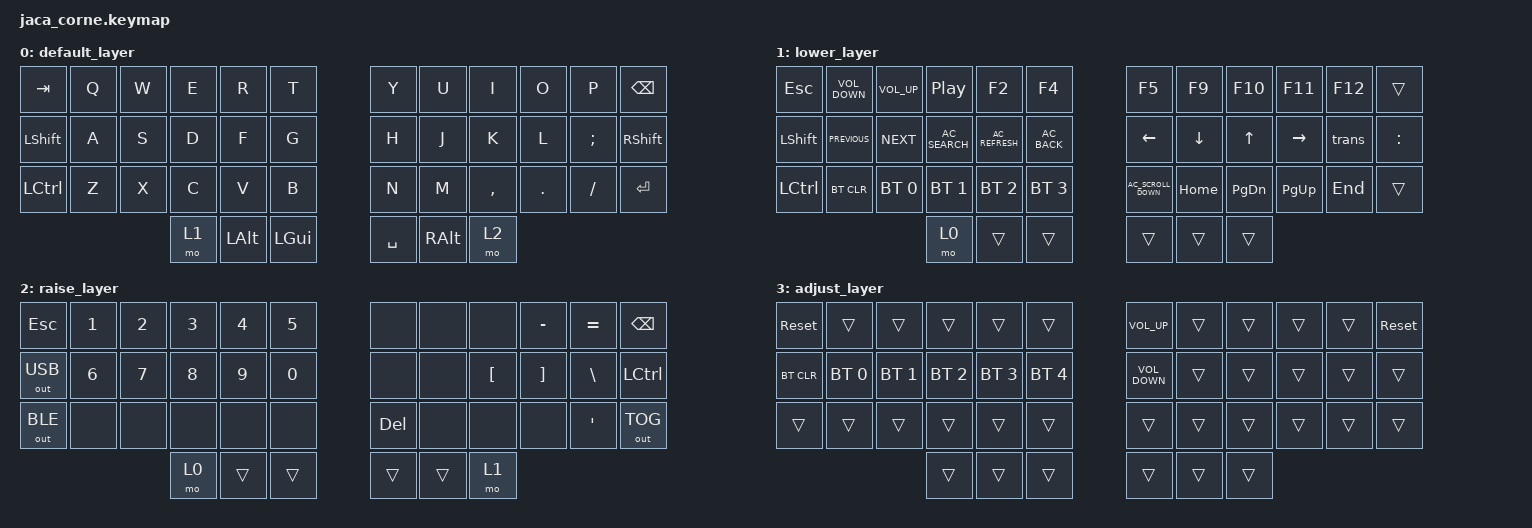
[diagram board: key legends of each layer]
#include <behaviors.dtsi>
#include <dt-bindings/zmk/bt.h>
#include <dt-bindings/zmk/keys.h>
#include <dt-bindings/zmk/outputs.h>

#define QWERTY 0
#define NUMB 1
#define NAVI 2
#define ADJUST 3

&lt {
    tapping-term-ms = <300>;
    quick_tap_ms = <200>;
    flavor = "hold-preferred";
};

/ {
    chosen {
        zmk,matrix_transform = &default_transform;
    };

    behaviors {
        hm: homerow_mods {
            compatible = "zmk,behavior-hold-tap";
            label = "HOMEROW_MODS";
            #binding-cells = <2>;
            tapping-term-ms = <150>;
            quick_tap_ms = <150>;
            flavor = "tap-preferred";
            bindings = <&kp>, <&kp>;
        };
        lm: left_hand_positional_hold_tap {
            compatible = "zmk,behavior-hold-tap";
            label = "LEFT_HOMEROW_MODS";
            #binding-cells = <2>;
            flavor = "tap-unless-interrupted";
            tapping-term-ms = <200>;
            quick-tap-ms = <200>;
            bindings = <&kp>, <&kp>;

            hold-trigger-key-positions = <5 6 7 8 9 15 16 17 18 19 25 26 27 28 29>;
        };
        rm: right_hand_positional_hold_tap {
            compatible = "zmk,behavior-hold-tap";
            label = "RIGHT_HOMEROW_MODS";
            #binding-cells = <2>;
            flavor = "tap-unless-interrupted";
            tapping-term-ms = <200>;
            quick-tap-ms = <200>;
            bindings = <&kp>, <&kp>;

            hold-trigger-key-positions = <0 1 2 3 4 10 11 12 13 14 20 21 22 23 24>;
        };
    };

    keymap {
        compatible = "zmk,keymap";

        default_layer {
// .--------------------------------------------------------------------.       .------------------------------------------------------------------.
// |   TAB        |    Q    |    W   |   E    |    R    |    T          |       |   Y   |    U    |    I    |    O    |     P    |    BACKSPACE    |
// |--------------+---------+--------+--------+---------+---------------|       |-------+---------+---------+---------+----------+-----------------|
// |   LSHFT      |    A    |    S   |   D    |    F    |    G          |       |   H   |    J    |    K    |    L    |     ;    |    RSHFT        |
// |--------------+---------+--------+--------+---------+---------------|       |-------+---------+---------+---------+----------+-----------------|
// |   LCTRL      |    Z    |    X   |   C    |    V    |    B          |       |   N   |    M    |    ,    |    .    |     /    |    ENTER        |
// '---------------------------------+--------+---------+---------------+       |-------+---------+---------+--------------------------------------'
//                                   |  MO1   |   LALT   |   LEFT_GUI   |       |  SPC  |   RALT  |  MO2    |
//                                   '--------+---------+---------------'       '-------+---------+---------'

// &kp TAB        &kp Q       &kp W      &kp E     &kp R           &kp T   &kp Y  &kp U           &kp I        &kp O     &kp P      &kp LBKT
// &mt LCTRL TAB  &kp A       &kp S      &kp D     &kp F           &kp G   &kp H  &kp J           &kp K        &kp L     &kp SEMI   &kp SQT
 //&kp LSHFT      &kp Z       &kp X      &kp C     &kp V           &kp B   &kp N  &kp M           &kp COMMA    &kp DOT   &kp FSLH   &mt RALT GRAVE
 //               &kp LGUI    &mo 1      &lt NAVI RET              &kp SPACE       &kp BSPC    &kp CAPSLOCK
 
            bindings = <
   &kp TAB        &kp Q       &kp W      &kp E     &kp R           &kp T   &kp Y  &kp U           &kp I        &kp O     &kp P      &kp BACKSPACE
   &kp LSHFT      &kp A       &kp S      &kp D     &kp F           &kp G   &kp H  &kp J           &kp K        &kp L     &kp SEMI   &kp RSHFT
   &kp LCTRL      &kp Z       &kp X      &kp C     &kp V           &kp B   &kp N  &kp M           &kp COMMA    &kp DOT   &kp FSLH   &kp ENTER
                              &mo 1      &kp LALT  &kp LEFT_GUI    &kp SPACE      &kp RIGHT_ALT        &mo 2
            >;
        };

        lower_layer {
// .--------------------------------------------------------------------------------------.       .-------------------------------------------------------------------------------------------------------------.
// |   ESC        |    VOLDOWN   |    VOLUP   |  PLAYPAUSE  |    F2       |    F4         |       |   F5         |    F9            |    F10           |    F11         |     F12            |    BACKSPACE     |
// |--------------+---------+--------+--------+-------------+-------------+---------------|       |--------------+------------------+------------------+----------------+--------------------+------------------|
// |   TAB        |    PREV      |    NEXT    |  SEARCH     |    RFRSH    |    BACK       |       |   SCROLLUP   |    LEFT_ARROW    |    DOWN_ARROW    |    UP_ARROW    |     RIGHT_ARROW    |     COLON        |
// |--------------+---------+--------+--------+-------------+-------------+---------------|       |--------------+------------------+---------+--------+----------------+--------------------|------------------|
// |   LCTRL      |    BTCLR     |    BT 1    |  BT 2       |    BT 3     |    BT 4       |       |   SCROLLDOWN |    HOME          |    PAGE_DOWN     |    PAGE_UP     |     END            |     ENTER        |
// '---------------------------------+--------+-------------+-------------+---------------|       |--------------+------------------+------------------+--------------------------------------------------------'
//                                            |    MO0      |  LALT       |   LEFT_GUI    |       |   SPC        |    RALT          |    MO2           |
//                                            '-------------+-------------+---------------'       '--------------+------------------+------------------'

            bindings = <
&kp ESCAPE        &kp C_VOLUME_DOWN  &kp C_VOLUME_UP  &kp C_PP          &kp F2            &kp F4                   &kp F5                &kp F9          &kp F10         &kp F11          &kp F12          &trans
&kp LSHFT         &kp C_PREVIOUS     &kp C_NEXT       &kp C_AC_SEARCH   &kp C_AC_REFRESH  &kp C_AC_BACK            &kp LEFT_ARROW        &kp DOWN_ARROW  &kp UP_ARROW    &kp RIGHT_ARROW  &kp trans     &kp COLON
&kp LEFT_CONTROL  &bt BT_CLR         &bt BT_SEL 0     &bt BT_SEL 1      &bt BT_SEL 2      &bt BT_SEL 3             &kp C_AC_SCROLL_DOWN  &kp HOME        &kp PAGE_DOWN   &kp PAGE_UP      &kp END          &trans
                                                      &mo 0             &trans            &trans                   &trans                &trans          &trans
            >;
        };

        raise_layer {
// .-------------------------------------------------------------------.       .---------------------------------------------------------------------.
// |    ESC        |    1    |    2    |    3    |    4    |    5      |       |          |           |          |   -     |   =     |   BACKSPACE   |
// |----------------+--------+---------+---------+---------+-----------|       |----------+-----------+----------+---------+---------+---------------|
// |    OUT_USB    |   6     |    7    |    8    |    9    |    0      |       |          |           |   [      |   ]     |   \     |   LCTRL       |
// |---------------+---------+---------+---------+---------+-----------|       |----------+-----------+----------+---------+---------+---------------|
// |    OUT_BLE    |         |         |         |         |           |       |   DEL    |           |          |         |   SQT   |   OUT_TOG     |
// '-----------------------------------+---------+---------+-----------|       |----------+-----------+----------+-----------------------------------'
//                                     |   MO1   |   LALT  |   L_GUI   |       |   SPC    |   R_ALT   |   MO1    |
//                                     '---------+----------+----------'       '----------+-----------+----------'

            bindings = <
&kp ESCAPE    &kp NUMBER_1  &kp NUMBER_2  &kp NUMBER_3  &kp NUMBER_4  &kp NUMBER_5            &none        &none  &none             &kp MINUS          &kp EQUAL      &kp BACKSPACE
&out OUT_USB  &kp NUMBER_6  &kp NUMBER_7  &kp NUMBER_8  &kp NUMBER_9  &kp NUMBER_0            &none        &none  &kp LEFT_BRACKET  &kp RIGHT_BRACKET  &kp BACKSLASH  &kp LEFT_CONTROL
&out OUT_BLE  &none         &none         &none         &none         &none                   &kp DEL      &none  &none             &none              &kp SQT        &out OUT_TOG
                                          &mo 0         &trans        &trans                  &trans       &trans &mo 1
            >;
        };

        adjust_layer {
// .--------------------------------------------------------.       .--------------------------------------------------------------.
// |         |        |        |        |         |         |       |  VOL+  |        |         |         |          |             |
// |---------+--------+--------+--------+---------+---------|       |--------+--------+---------+---------+----------+-------------|
// |  BTCLR  |  BT1   |  BT2   |  BT3   |  BT4    |  BT5    |       |  VOL-  |        |         |         |          |             |
// |---------+--------+--------+--------+---------+---------|       |--------+--------+---------+---------+----------+-------------|
// |         |        |        |        |         |         |       |        |        |         |         |          |             |
// '---------------------------+--------+---------+---------+       |--------+--------+---------+----------------------------------'
//                             |        |         |         |       |        |        |         |
//                             '--------+---------+---------'       '--------+--------+---------'

            bindings = <
&sys_reset  &trans        &trans        &trans        &trans        &trans                  &kp C_VOLUME_UP    &trans  &trans  &trans  &trans  &sys_reset
&bt BT_CLR  &bt BT_SEL 0  &bt BT_SEL 1  &bt BT_SEL 2  &bt BT_SEL 3  &bt BT_SEL 4            &kp C_VOLUME_DOWN  &trans  &trans  &trans  &trans  &trans
&trans      &trans        &trans        &trans        &trans        &trans                  &trans             &trans  &trans  &trans  &trans  &trans
                                        &trans        &trans        &trans                  &trans             &trans  &trans
            >;
        };
    };
};
